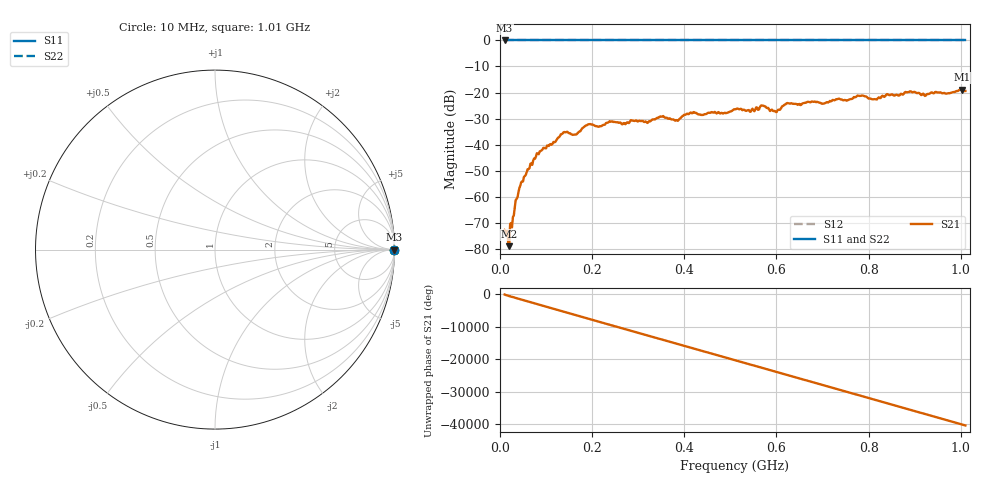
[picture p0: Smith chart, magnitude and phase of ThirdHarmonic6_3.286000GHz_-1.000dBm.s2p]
! 8/17/2025 10:12:27 AM
! C:\ANRITSUVNA\TEMP\TEMP.S2P
! CHANNEL.1
! TR.MEASUREMENT
! RAW.DATA
! RF.CORRECTION.OFF
! AVERAGING.OFF
! IF.BANDWIDTH: 5KHZ
! SWEEPTYPE:  FREQ.SWEEP(Linear)
! Reference Plane Port Info
! PORT:  PORT1  PORT2
! DISTANCE:  0  m  0  m
! TIME:  0  s  0  s
! PHASE.OFFSET:  0  deg.  0  deg.
! LOSS:  0  dB  0  dB
! REF.LOSS:  0  dB  0  dB
! REF.FREQ:  0  Hz  0  Hz
! Power Info
! POWER:  -20  dBm  -20  dBm
! EFF.POWER:  -20  dBm  -20  dBm
! SOURCE.ATTEN:  0  dB  0  dB
! TEST.ATTEN:  0  dB  0  dB
# GHZ S RI R 50.0
! FREQ.GHZ  S11RE  S11IM  S21RE  S21IM  S12RE  S12IM  S22RE  S22IM
!; PortSelection: Port_12
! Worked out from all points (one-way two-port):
!   501 points, 10 MHz to 1.01 GHz, reference 50 ohm
!   highest |S21| = -18.84 dB at 1.002 GHz (marker M1); lowest = -79.0 dB at 20 MHz (marker M2)
!   lowest |S11| = 0.0 dB at 10 MHz (marker M3)
!   |S11| at or under -10 dB: nowhere
!   |S22| runs from 0.0 to 0.0 dB; largest |S21 - S12| = 1.1
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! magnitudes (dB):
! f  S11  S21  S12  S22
! 10 MHz  0.0  -72.8  0.0  0.0
! 16 MHz  0.0  -73.1  0.0  0.0
! 20 MHz  0.0  -79.0  0.0  0.0
! 44 MHz  0.0  -55.8  0.0  0.0
! 78 MHz  0.0  -44.6  0.0  0.0
! 136 MHz  0.0  -35.7  0.0  0.0
! 162 MHz  0.0  -36.2  0.0  0.0
! 178 MHz  0.0  -33.8  0.0  0.0
! 194 MHz  0.0  -32.2  0.0  0.0
! 318 MHz  0.0  -31.4  0.0  0.0
! 344 MHz  0.0  -29.7  0.0  0.0
! 384 MHz  0.0  -30.6  0.0  0.0
! 416 MHz  0.0  -28.0  0.0  0.0
! 510 MHz  0.0  -26.4  0.0  0.0
! 548 MHz  0.0  -26.2  0.0  0.0
! 570 MHz  0.0  -25.0  0.0  0.0
! 598 MHz  0.0  -27.3  0.0  0.0
! 622 MHz  0.0  -24.1  0.0  0.0
! 678 MHz  0.0  -23.5  0.0  0.0
! 844 MHz  0.0  -21.0  0.0  0.0
! 1.002 GHz  0.0  -18.8  0.0  0.0
! 1.01 GHz  0.0  -19.4  0.0  0.0
